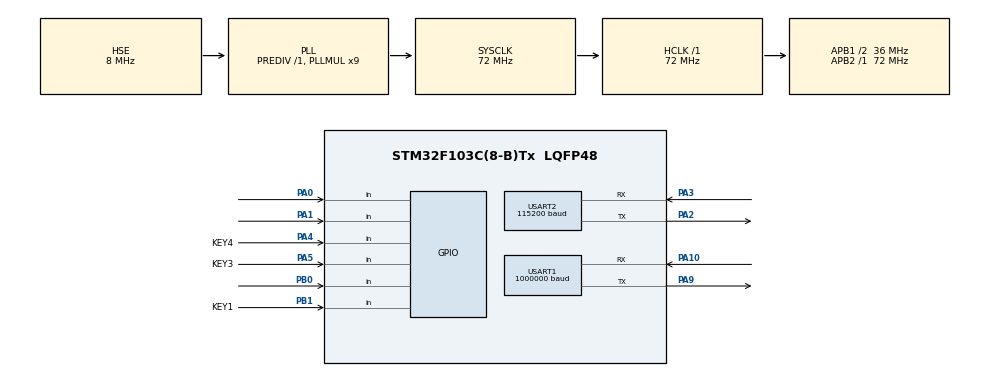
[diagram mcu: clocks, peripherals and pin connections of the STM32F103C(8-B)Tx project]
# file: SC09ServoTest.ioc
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Mcu.Family=STM32F1
Mcu.Name=STM32F103C(8-B)Tx
Mcu.Package=LQFP48
NVIC.PriorityGroup=NVIC_PRIORITYGROUP_4
NVIC.USART1_IRQn=true\:0\:0\:false\:false\:true\:true\:true\:true
PA0.GPIO_PuPd=GPIO_PULLUP
PA0.Signal=GPIO_Input
PA1.GPIO_PuPd=GPIO_PULLUP
PA1.Signal=GPIO_Input
PA2.Mode=Asynchronous
PA2.Signal=USART2_TX
PA3.Mode=Asynchronous
PA3.Signal=USART2_RX
PA4.GPIO_Label=KEY4
PA4.GPIO_PuPd=GPIO_PULLUP
PA4.Signal=GPIO_Input
PA5.GPIO_Label=KEY3
PA5.GPIO_PuPd=GPIO_PULLUP
PA5.Signal=GPIO_Input
PA10.Mode=Asynchronous
PA10.Signal=USART1_RX
PA13.Mode=Serial_Wire
PA13.Signal=SYS_JTMS-SWDIO
PA14.Mode=Serial_Wire
PA14.Signal=SYS_JTCK-SWCLK
PA9.Mode=Asynchronous
PA9.Signal=USART1_TX
PB0.GPIO_PuPd=GPIO_PULLUP
PB0.Signal=GPIO_Input
PB1.GPIO_Label=KEY1
PB1.GPIO_PuPd=GPIO_PULLUP
PB1.Signal=GPIO_Input
PD0-OSC_IN.Mode=HSE-External-Oscillator
PD0-OSC_IN.Signal=RCC_OSC_IN
PD1-OSC_OUT.Mode=HSE-External-Oscillator
PD1-OSC_OUT.Signal=RCC_OSC_OUT
ProjectManager.HeapSize=0x200
ProjectManager.StackSize=0x400
ProjectManager.TargetToolchain=CMake
RCC.AHBFreq_Value=72000000
RCC.APB1CLKDivider=RCC_HCLK_DIV2
RCC.APB1Freq_Value=36000000
RCC.APB1TimFreq_Value=72000000
RCC.APB2Freq_Value=72000000
RCC.APB2TimFreq_Value=72000000
RCC.HCLKFreq_Value=72000000
RCC.PLLMUL=RCC_PLL_MUL9
RCC.PLLSourceVirtual=RCC_PLLSOURCE_HSE
RCC.SYSCLKFreq_VALUE=72000000
RCC.SYSCLKSource=RCC_SYSCLKSOURCE_PLLCLK
RCC.USBFreq_Value=72000000
USART1.BaudRate=1000000
USART1.VirtualMode=VM_ASYNC
USART2.BaudRate=115200
USART2.VirtualMode=VM_ASYNC
board=custom

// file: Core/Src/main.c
/* USER CODE BEGIN Header */
/**
  ******************************************************************************
  * @file           : main.c
  * @brief          : Main program body
  ******************************************************************************
  * @attention
  *
  * Copyright (c) 2026 STMicroelectronics.
  * All rights reserved.
  *
  * This software is licensed under terms that can be found in the LICENSE file
  * in the root directory of this software component.
  * If no LICENSE file comes with this software, it is provided AS-IS.
  *
  ******************************************************************************
  */
/* USER CODE END Header */
#include "main.h"

/* USER CODE BEGIN Includes */
#include "servo.h"
#include <stdio.h>
/* USER CODE END Includes */

/* USER CODE BEGIN PD */
#define SERVO_MOVE_TIME 500U
#define SERVO_READ_INTERVAL 100U
#define SERVO_READ_TIMEOUT 30U

/* USER CODE END PD */

UART_HandleTypeDef huart1;
UART_HandleTypeDef huart2;

/* USER CODE BEGIN PV */

uint32_t position_read_tick = 0U;
char uart_buf[64];
static Servo_ManagerTypeDef ServoManager;
/* USER CODE END PV */

void SystemClock_Config(void);
static void MX_GPIO_Init(void);
static void MX_USART1_UART_Init(void);
static void MX_USART2_UART_Init(void);

int main(void)
{

  /* MCU Configuration--------------------------------------------------------*/

  /* Reset of all peripherals, Initializes the Flash interface and the Systick. */
  HAL_Init();

  /* Configure the system clock */
  SystemClock_Config();

  /* Initialize all configured peripherals */
  MX_GPIO_Init();
  MX_USART1_UART_Init();
  MX_USART2_UART_Init();
  /* USER CODE BEGIN 2 */
 // Servo_SetID_Broadcast(&ServoManager, 2U);
 // Servo_SetAngleLimit(&ServoManager, 2U, min_position, max_position);
  Servo_ManagerInit(&ServoManager, &huart1);
  (void)Servo_RegisterMotor(&ServoManager, 2U);
  HAL_Delay(100);
  Servo_EnableTorque(&ServoManager, 2U, 1U);
  /* USER CODE END 2 */

  /* Infinite loop */
  /* USER CODE BEGIN WHILE */
  while (1)
  {
    if ((HAL_GetTick() - position_read_tick) >= SERVO_READ_INTERVAL)
    {
      int length;
      uint8_t position_ok;
      Servo_MotorTypeDef *servo;
      Servo_Move(&ServoManager, 2U, 600U, 2000U, 0U);
      position_read_tick = HAL_GetTick();
      position_ok = Servo_GetPosition(&ServoManager, 2U, SERVO_READ_TIMEOUT);
      (void)Servo_GetAngleLimit(&ServoManager, 2U, 100U);
      servo = Servo_FindMotor(&ServoManager, 2U);

      if (position_ok && servo != NULL)
      {
        length = snprintf(uart_buf, sizeof(uart_buf),
                          "id:%u,pos:%u,min%u,max:%u,pos_ok:1\r\n",
                          servo->device_id,
                          (unsigned int)servo->feedback.position,
                          (unsigned int)servo->min_position,
                          (unsigned int)servo->max_position);
      }
     else
     {
       length = snprintf(uart_buf, sizeof(uart_buf),
                          "pos:%u,pos_ok:-1\r\n",
                          servo != NULL ? (unsigned int)servo->feedback.position : 0U);
     }

      if (length > 0)
      {
        HAL_UART_Transmit(&huart2, (uint8_t *)uart_buf, (uint16_t)length, 50);
      }
    }

    HAL_Delay(10);
  }
  /* USER CODE END 3 */
}

void SystemClock_Config(void)
{
  RCC_OscInitTypeDef RCC_OscInitStruct = {0};
  RCC_ClkInitTypeDef RCC_ClkInitStruct = {0};

  /** Initializes the RCC Oscillators according to the specified parameters
  * in the RCC_OscInitTypeDef structure.
  */
  RCC_OscInitStruct.OscillatorType = RCC_OSCILLATORTYPE_HSE;
  RCC_OscInitStruct.HSEState = RCC_HSE_ON;
  RCC_OscInitStruct.HSEPredivValue = RCC_HSE_PREDIV_DIV1;
  RCC_OscInitStruct.HSIState = RCC_HSI_ON;
  RCC_OscInitStruct.PLL.PLLState = RCC_PLL_ON;
  RCC_OscInitStruct.PLL.PLLSource = RCC_PLLSOURCE_HSE;
  RCC_OscInitStruct.PLL.PLLMUL = RCC_PLL_MUL9;
  if (HAL_RCC_OscConfig(&RCC_OscInitStruct) != HAL_OK)
  {
    Error_Handler();
  }

  /** Initializes the CPU, AHB and APB buses clocks
  */
  RCC_ClkInitStruct.ClockType = RCC_CLOCKTYPE_HCLK|RCC_CLOCKTYPE_SYSCLK
                              |RCC_CLOCKTYPE_PCLK1|RCC_CLOCKTYPE_PCLK2;
  RCC_ClkInitStruct.SYSCLKSource = RCC_SYSCLKSOURCE_PLLCLK;
  RCC_ClkInitStruct.AHBCLKDivider = RCC_SYSCLK_DIV1;
  RCC_ClkInitStruct.APB1CLKDivider = RCC_HCLK_DIV2;
  RCC_ClkInitStruct.APB2CLKDivider = RCC_HCLK_DIV1;

  if (HAL_RCC_ClockConfig(&RCC_ClkInitStruct, FLASH_LATENCY_2) != HAL_OK)
  {
    Error_Handler();
  }
}

static void MX_USART1_UART_Init(void)
{

  huart1.Instance = USART1;
  huart1.Init.BaudRate = 1000000;
  huart1.Init.WordLength = UART_WORDLENGTH_8B;
  huart1.Init.StopBits = UART_STOPBITS_1;
  huart1.Init.Parity = UART_PARITY_NONE;
  huart1.Init.Mode = UART_MODE_TX_RX;
  huart1.Init.HwFlowCtl = UART_HWCONTROL_NONE;
  huart1.Init.OverSampling = UART_OVERSAMPLING_16;
  if (HAL_UART_Init(&huart1) != HAL_OK)
  {
    Error_Handler();
  }

}

static void MX_USART2_UART_Init(void)
{

  huart2.Instance = USART2;
  huart2.Init.BaudRate = 115200;
  huart2.Init.WordLength = UART_WORDLENGTH_8B;
  huart2.Init.StopBits = UART_STOPBITS_1;
  huart2.Init.Parity = UART_PARITY_NONE;
  huart2.Init.Mode = UART_MODE_TX_RX;
  huart2.Init.HwFlowCtl = UART_HWCONTROL_NONE;
  huart2.Init.OverSampling = UART_OVERSAMPLING_16;
  if (HAL_UART_Init(&huart2) != HAL_OK)
  {
    Error_Handler();
  }

}

static void MX_GPIO_Init(void)
{
  /* USER CODE BEGIN MX_GPIO_Init_1 */
  GPIO_InitTypeDef GPIO_InitStruct = {0};
  /* USER CODE END MX_GPIO_Init_1 */

  /* GPIO Ports Clock Enable */
  __HAL_RCC_GPIOD_CLK_ENABLE();
  __HAL_RCC_GPIOA_CLK_ENABLE();

  /* USER CODE BEGIN MX_GPIO_Init_2 */
  __HAL_RCC_GPIOB_CLK_ENABLE();

  GPIO_InitStruct.Pin = GPIO_PIN_0|GPIO_PIN_1;
  GPIO_InitStruct.Mode = GPIO_MODE_INPUT;
  GPIO_InitStruct.Pull = GPIO_PULLUP;
  HAL_GPIO_Init(GPIOB, &GPIO_InitStruct);

  GPIO_InitStruct.Pin = GPIO_PIN_4|GPIO_PIN_5;
  GPIO_InitStruct.Mode = GPIO_MODE_INPUT;
  GPIO_InitStruct.Pull = GPIO_PULLUP;
  HAL_GPIO_Init(GPIOA, &GPIO_InitStruct);
  /* USER CODE END MX_GPIO_Init_2 */
}

void Error_Handler(void)
{
  __disable_irq();
  while (1)
  {
  }
}
